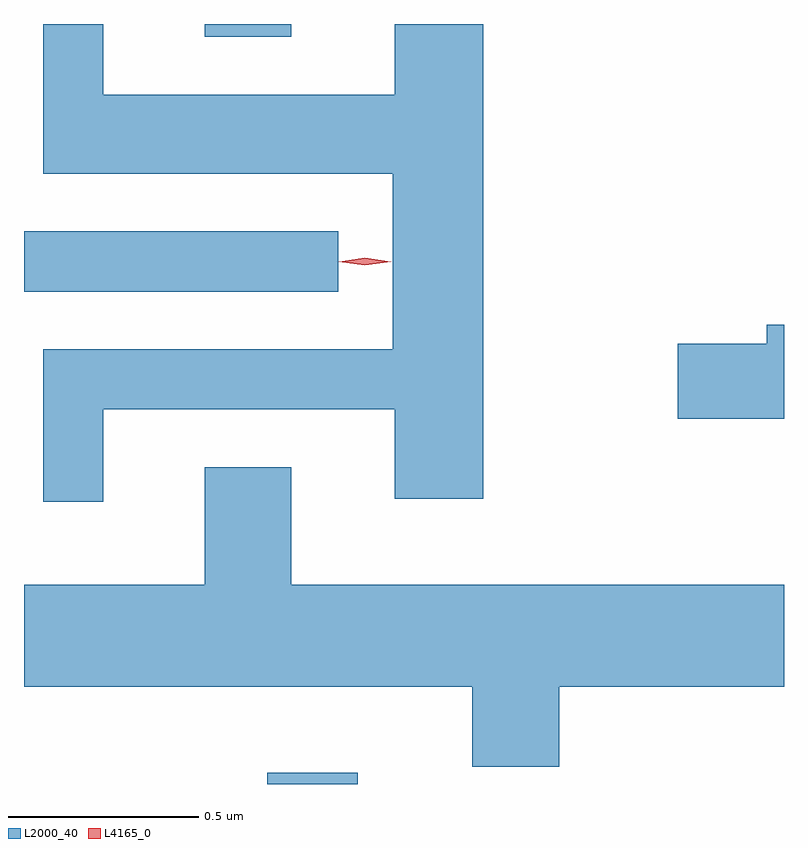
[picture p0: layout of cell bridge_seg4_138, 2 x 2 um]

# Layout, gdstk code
import gdstk
lib = gdstk.Library(unit=1e-6, precision=1e-09)
def R(c, l, rs):  # rectangles x0, y0, x1, y1
    for r in rs: c.add(gdstk.rectangle(r[:2], r[2:], *l))
def P(c, l, *ps):  # polygons
    for p in ps: c.add(gdstk.Polygon(p, *l))
L2000_40 = (2000, 40)
L4165_0 = (4165, 0)

bridge_seg4_138 = lib.new_cell('bridge_seg4_138')
R(bridge_seg4_138, L2000_40, [(870.936,1298.92,871.174,1298.949), (870.296,1300.216,871.123,1300.374), (870.771,1300.886,870.999,1300.92)])
P(bridge_seg4_138, L2000_40, [(870.504,1299.906),(871.271,1299.906),(871.271,1299.671),(871.504,1299.671),(871.504,1300.92),(871.271,1300.92),(871.271,1300.734),(870.504,1300.734),(870.504,1300.92),(870.346,1300.92),(870.346,1300.526),(871.266,1300.526),(871.266,1300.064),(870.346,1300.064),(870.346,1299.663),(870.504,1299.663)],
  [(872.296,1300.129),(872.251,1300.129),(872.251,1300.079),(872.016,1300.079),(872.016,1299.881),(872.296,1299.881)],
  [(871.704,1299.176),(872.296,1299.176),(872.296,1299.444),(870.999,1299.444),(870.999,1299.754),(870.771,1299.754),(870.771,1299.444),(870.296,1299.444),(870.296,1299.176),(871.476,1299.176),(871.476,1298.966),(871.704,1298.966)])
P(bridge_seg4_138, L4165_0, [(871.193,1300.285),(871.128,1300.294),(871.127,1300.295),(871.128,1300.295),(871.193,1300.305),(871.259,1300.295),(871.26,1300.295),(871.259,1300.294)],
  [(871.193,1300.285),(871.124,1300.294),(871.124,1300.295),(871.124,1300.295),(871.193,1300.305),(871.262,1300.295),(871.262,1300.295),(871.262,1300.294)])

lib.write_gds('bridge_seg4_138.gds')
